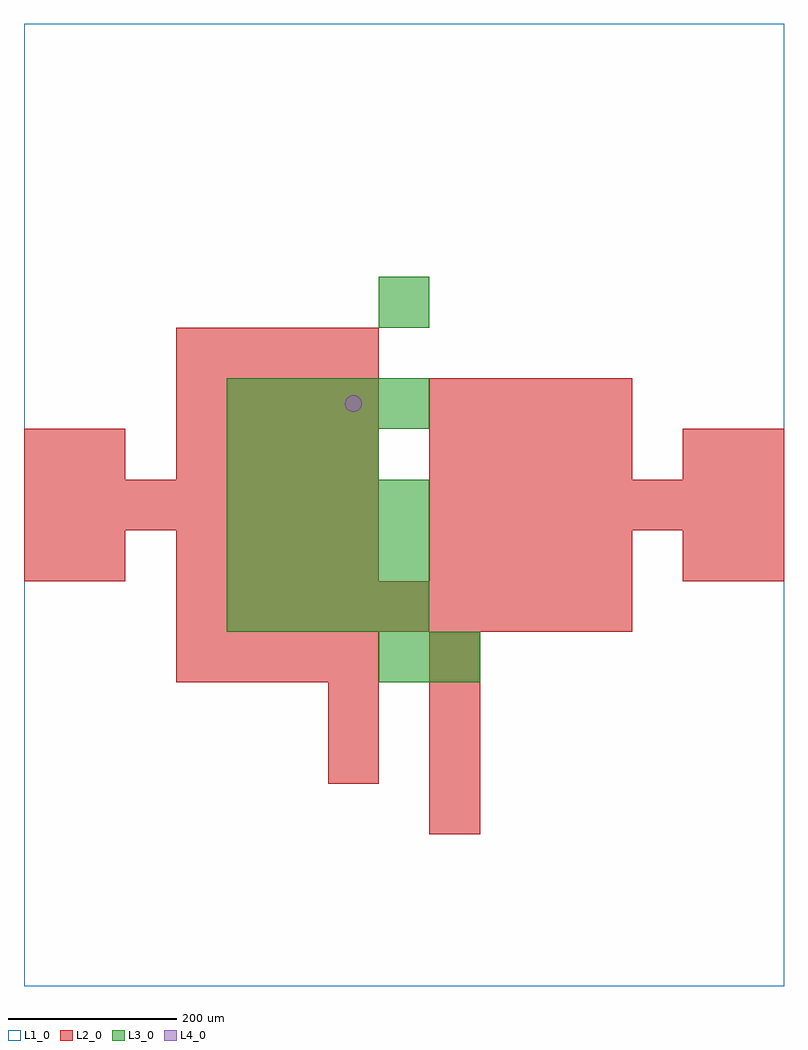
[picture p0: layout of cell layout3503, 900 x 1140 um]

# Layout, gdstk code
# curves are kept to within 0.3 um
import gdstk
lib = gdstk.Library(unit=1e-6, precision=1e-09)
def R(c, l, rs):  # rectangles x0, y0, x1, y1
    for r in rs: c.add(gdstk.rectangle(r[:2], r[2:], *l))
def A(c, l, x, y, w, h, nx, ny, dx, dy):  # array of equal rectangles
    R(c, l, [(x+i*dx, y+j*dy, x+i*dx+w, y+j*dy+h) for i in range(nx) for j in range(ny)])
def P(c, l, *ps):  # polygons
    for p in ps: c.add(gdstk.Polygon(p, *l))
L1_0 = (1, 0)
L2_0 = (2, 0)
L3_0 = (3, 0)
L4_0 = (4, 0)

layout3503 = lib.new_cell('layout3503')
R(layout3503, L1_0, [(0,0,900,1140)])
A(layout3503, L2_0, 480, 180, 60, 60, 1, 4, 0, 60)
A(layout3503, L2_0, 180, 360, 60, 60, 4, 3, 60, 120)
A(layout3503, L2_0, 180, 420, 60, 60, 9, 1, 60, 0)
A(layout3503, L2_0, 480, 480, 60, 60, 4, 2, 60, 120)
A(layout3503, L2_0, 0, 540, 60, 60, 7, 1, 60, 0)
A(layout3503, L2_0, 480, 540, 60, 60, 7, 1, 60, 0)
A(layout3503, L2_0, 180, 660, 60, 60, 4, 2, 60, 60)
A(layout3503, L2_0, 480, 660, 60, 60, 4, 1, 60, 0)
R(layout3503, L2_0, [(360,240,420,300), (360,300,420,360), (0,480,60,540), (60,480,120,540), (780,480,840,540), (840,480,900,540), (0,600,60,660), (60,600,120,660), (780,600,840,660), (840,600,900,660)])
A(layout3503, L3_0, 240, 420, 60, 60, 4, 3, 60, 60)
A(layout3503, L3_0, 240, 600, 60, 60, 3, 1, 60, 0)
A(layout3503, L3_0, 240, 660, 60, 60, 4, 1, 60, 0)
R(layout3503, L3_0, [(420,360,480,420), (480,360,540,420), (420,780,480,840)])
P(layout3503, L4_0, [(400,690),(399.239,693.827),(397.071,697.071),(393.827,699.239),(390,700),(386.173,699.239),(382.929,697.071),(380.761,693.827),(380,690),(380.761,686.173),(382.929,682.929),(386.173,680.761),(390,680),(393.827,680.761),(397.071,682.929),(399.239,686.173)])

lib.write_gds('layout3503.gds')
